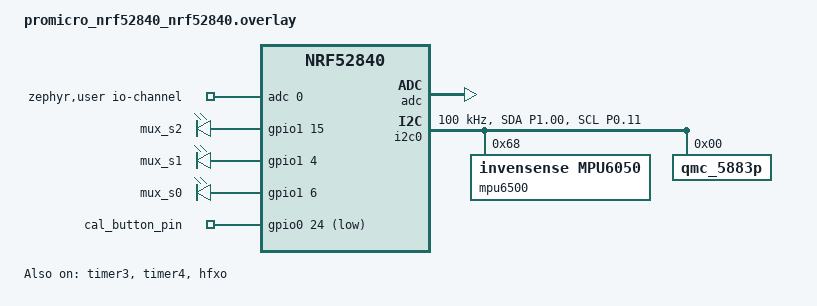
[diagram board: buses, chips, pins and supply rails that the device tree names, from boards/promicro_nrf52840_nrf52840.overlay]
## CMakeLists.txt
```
# SPDX-License-Identifier: Apache-2.0

cmake_minimum_required(VERSION 3.20.0)
find_package(Zephyr REQUIRED HINTS $ENV{ZEPHYR_BASE})
project(transmitter)


zephyr_include_directories(../common/include/)
zephyr_include_directories(src)

target_sources(app PRIVATE
  src/main.c
  src/adc.c
  src/receive_data.c
  src/timer.c
  src/position.c
)

target_sources(app PRIVATE
  ../common/src/MadgwickAHRS.c
  ../common/src/imu.c
  ../common/src/qmc5883p.c
  ../common/src/orientation_handle.c
  ../common/src/data_handle.c
)
```

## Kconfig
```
config DEBUG_SHOW_SENSOR_DATA
  bool "Show sensor data"
  default n
  help
    If this is enabled, the output will be accelerometer, gyro, and magnetometer data

config DEBUG_SHOW_QUATERNIONS_DATA
  bool "Show quaternion data"
  default n
  help
    If this is enabled, quaternions will be output.

config RUN_QMC_CALIBRATION
  bool "Run calibration routine for magnetometer"
  default n
  help
    If this is enabled,  instead of running madgwick filter, it will run the calibration routine for the magnetometer, and output constants for you to update in IMU.c

config RX_UPDATE_RATE
  int "Update rate of receiver (hz)"
  default 100
  help
    Update rate of receiver can be adjusted, should match TX broadcast rate

config RX_ADC_FREQUENCY
  int "Frequency of ADC checking receiver coils voltage(KHz)"
  # default 100
  default 200
  help
    Frequency of ADC checking transmitter coil voltage


config TX_BROADCAST_FREQUENCY
  int "Frequency of transmitter broadcasting bluetooth packets (Hz)"
  default 100
  help
    How frequently the transmitter broadcast packets containing quaternion and phase data to receivers

config RX_BROADCAST_FREQUENCY
  int "Frequency of transmitter broadcasting bluetooth packets (Hz)"
  default 100
  help
    How frequently the receiver broadcast packets containing quaternion and position data to pc

config IS_RECEIVER
  bool "Is this the receiver device?"
  default y
  help
    Used to determine if this is the receiver device, some structs are not included in Tx, check data_handle.h for more details

config RX_SAMPLE_NUMBER
  int "Number of samples to use for positioning and phase Synchronization"
  default 100
  help
    Number of samples to use when calculating Tx phase and amp.


config TX_SAMPLE_NUMBER
  int "Number of samples to use when calculating Tx phase and amp"
  default 100
  help
    Number of samples to use when calculating Tx phase and amp, higher numbers will increase accuracy at cost of performance.


config TX_PWM_FREQUENCY
  int "Frequency of transmitter broadcasting signal (KHz)"
  default 32
  help
    How frequently transmitter antenna sends out signal in KHZ

config TX_ADC_FREQUENCY
  int "Frequency of ADC checking transmitter coils voltage(KHz)"
  # default 100
  default 200
  help
    Frequency of ADC checking transmitter coil voltage

source "Kconfig.zephyr"
```

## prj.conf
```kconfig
# required for running
CONFIG_I2C=y
CONFIG_SENSOR=y
CONFIG_PWM=y
CONFIG_MPU6050=y
CONFIG_CBPRINTF_FP_SUPPORT=y
CONFIG_BUILD_OUTPUT_UF2=y # change/remove this if not using promicro_nrf52840
CONFIG_STDOUT_CONSOLE=y
CONFIG_PRINTK=y
CONFIG_CBPRINTF_FP_SUPPORT=y

CONFIG_NRFX_SAADC=y
CONFIG_NRFX_GPPI=y
CONFIG_NRFX_TIMER=y
# floating point unit
CONFIG_FP_HARDABI=y
CONFIG_FPU=y
CONFIG_FPU_SHARING=y
# CONFIG_NFCT_PINS_AS_GPIOS=y
CONFIG_CLOCK_CONTROL_NRF_K32SRC_XTAL=y
CONFIG_CLOCK_CONTROL_NRF_K32SRC_20PPM=y


# Nordic NCS specific
CONFIG_ESB=y
CONFIG_MPSL=y

# Debug flags
# CONFIG_LOG=y
# CONFIG_SENSOR_LOG_LEVEL_DBG=y
# CONFIG_SERIAL=y
# CONFIG_CONSOLE=y
# CONFIG_UART_CONSOLE=y
# CONFIG_UART_LINE_CTRL=y
# CONFIG_SHELL=y
# CONFIG_SHELL_BACKEND_SERIAL=y
# CONFIG_SHELL_PROMPT_UART="shell> "
# CONFIG_I2C_SHELL=y


# ---- extras
# CONFIG_DEBUG_SHOW_SENSOR_DATA=y
# CONFIG_DEBUG_SHOW_QUATERNIONS_DATA=y
# add gain modifier for coils tmmrow
# CONFIG_RUN_QMC_CALIBRATION=y
```

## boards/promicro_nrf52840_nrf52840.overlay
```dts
/ {
  // required for setting ADC
  zephyr,user {
    io-channels=<&adc 0>;
  };

  mux_controls {
      compatible = "gpio-leds";
      mux_s2: s2 {
        //pin 0.11
        gpios = <&gpio1 15 GPIO_ACTIVE_HIGH>;
      };
      mux_s1: s1 {
        // pin 1.04
        gpios = <&gpio1 4 GPIO_ACTIVE_HIGH>;
      };
      mux_s0: s0 {
        //pin 1.06
        gpios = <&gpio1 6 GPIO_ACTIVE_HIGH>;
      };
  };

  cal_button {
      compatible = "gpio-leds";
      cal_button_pin: cal_button_pin {
        //pin 0.24
        gpios = <&gpio0 24 GPIO_ACTIVE_LOW>;
        };
  };

};

// &uicr {
//   // disable bottom 2 pins for nfc
//   // compatible = "nordic,nrf-uicr";
//   nfct-pins-as-gpios;
// };

&adc {
  status = "okay";
  compatible = "nordic,nrf-saadc";
};

&timer3{
  status = "okay";
};

&timer4{
  status = "okay";
};

&hfxo{
    status = "okay";
};

&clock{
    status = "okay";
};

&i2c0{
  // https://koen.vervloesem.eu/blog/how-to-change-the-default-i2c-pins-in-zephyr/
  status = "okay";
  compatible = "nordic,nrf-twim";
  pinctrl-0 = <&i2c0_default>;
  clock-frequency = <I2C_BITRATE_STANDARD>;
  pinctrl-1 = <&i2c0_sleep>;
  pinctrl-names = "default","sleep";
  mpu6500: mpu6500@68 {
      compatible = "invensense,mpu6050";
      reg = <0x68>;
      status = "okay";
      gyro-fs = <2000>;
      accel-fs = <8>;
  };
  qmc_5883p: qmc_5883p@0 {
    // use this to set which i2c bus you are using for qmc_5883p
    reg = <0x0>;
  };
};

&pinctrl {
    i2c0_default: i2c0_default{
      group1 {
            psels = <NRF_PSEL(TWIM_SDA, 1, 00)>,
                    <NRF_PSEL(TWIM_SCL, 0, 11)>;
    };
      bias-pull-up;
  };

  i2c0_sleep: i2c0_sleep {
    group1 {
            psels = <NRF_PSEL(TWIM_SDA, 1, 00)>,
                    <NRF_PSEL(TWIM_SCL, 0, 11)>;

        low-power-enable;
    };
  };
};
```

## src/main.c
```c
#include "adc.h"
#include "orientation_handle.h"
#include "position.h"
#include "qmc5883p.h"
#include "receive_data.h"
#include "timer.h"

#include "zephyr/device.h"
#include "zephyr/sys/util_macro.h"
#include <zephyr/drivers/sensor.h>
#include <zephyr/kernel.h>
#include <zephyr/sys/printk.h>

#define THREAD_STACK_SIZE 2048
#define THREAD_PRIORITY 7

K_THREAD_STACK_DEFINE(adc_stack, THREAD_STACK_SIZE);

// will need to transmit to other
K_THREAD_STACK_DEFINE(receive_stack, THREAD_STACK_SIZE);
K_THREAD_STACK_DEFINE(orientation_stack, THREAD_STACK_SIZE);
K_THREAD_STACK_DEFINE(position_stack, THREAD_STACK_SIZE);

struct k_thread adc_thread_data;
struct k_thread transmit_thread_data;
struct k_thread orientation_thread_data;
struct k_thread position_thread_data;

int32_t _err;

#include <zephyr/drivers/clock_control.h>
#include <zephyr/drivers/clock_control/nrf_clock_control.h>

void start_precision_clock(void) {
  const struct device *const clk = DEVICE_DT_GET_ONE(nordic_nrf_clock);
  if (!device_is_ready(clk)) {
    printk("Clock device not ready\n");
    return;
  }

  /* Start the high-frequency crystal oscillator (HFXO) */
  clock_control_on(clk, CLOCK_CONTROL_NRF_SUBSYS_HF);

  printk("HFXO precision clock started.\n");
}

int main(void) {

  k_msleep(5000);
  printk("Starting...\n");
  k_msleep(1000);

  printk("Start precison clock...\n");
  start_precision_clock();
  k_msleep(1000);
  //
  printk("setting up Sensors...\n");
  k_msleep(1000);
  _err = setup_sensors();
  if (_err != 0) {
    printk("failed to setup sensors:%d\n", _err);
    return _err;
  }

  printk("All pins are ready!\n");

  printk("Setting up timers\n");
  k_msleep(1000);
  _err = setup_timers();
  if (_err != 0) {
    printk("failed to setup timer:%d\n", _err);
    k_msleep(1000);
    return _err;
  }
  // set this up last, or atleast before ADC so timer is available
  printk("Setting up reciever\n");
  k_msleep(1000);
  setup_receiver();

  if (IS_ENABLED(CONFIG_RUN_QMC_CALIBRATION)) {
    static const struct device *i2c_dev =
        DEVICE_DT_GET(DT_BUS(DT_NODELABEL(qmc_5883p)));
    qmc_calibration_routine(i2c_dev);
    // exit from function
    return 0;
  }

  k_thread_create(&adc_thread_data, adc_stack, K_THREAD_STACK_SIZEOF(adc_stack),
                  start_adc_thread, NULL, NULL, NULL, THREAD_PRIORITY, 0,
                  K_NO_WAIT);

  k_thread_create(&orientation_thread_data, orientation_stack,
                  K_THREAD_STACK_SIZEOF(orientation_stack),
                  run_orientation_loop, NULL, NULL, NULL, THREAD_PRIORITY, 0,
                  K_NO_WAIT);

  k_thread_create(&position_thread_data, position_stack,
                  K_THREAD_STACK_SIZEOF(position_stack),
                  start_positioning_thread, NULL, NULL, NULL, THREAD_PRIORITY,
                  0, K_NO_WAIT);
  while (1) {
    k_sleep(K_FOREVER);
  }
  return 0;
}
```

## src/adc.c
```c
#include "adc.h"
#include "data_handle.h"
#include "hal/nrf_saadc.h"
#include "hal/nrf_timer.h"
#include "nrfx_templates_config.h"
#include "orientation_handle.h"
#include "timer.h"
#include <helpers/nrfx_gppi.h>
#include <math.h>
#include <zephyr/drivers/gpio.h>

#include <nrfx_saadc.h>
#include <nrfx_timer.h>
#include <stdint.h>
#include <zephyr/devicetree.h>
#include <zephyr/irq.h>
#include <zephyr/kernel.h>
#include <zephyr/sys/printk.h>

// https://github.com/NordicPlayground/nRF52-ADC-examples/tree/master/nrfx_saadc_multi_channel_ppi
// pin out from here: https://nicekeyboards.com/docs/nice-nano/pinout-schematic/
// ADC pins
#define PIN_X NRF_SAADC_INPUT_AIN0 // pin 0.02
// TODO: move these into KCONFIG
#define GAIN_X 1.2184578168707212f
#define GAIN_Y 0.8938119254701037f
#define GAIN_Z 0.9429631550167387f
#ifndef PI
#define PI 3.14159265358979323846f
#endif
#define TWO_PI (2.0f * PI)

extern struct k_msgq rx_sync_msgq;

K_SEM_DEFINE(adc_semaphore, 0, 1);

// used to pass messages to positioning thread
extern struct k_msgq positioning_queue;
extern struct k_sem radio_sync_sem;

// used for calculating phase for sign
static uint32_t local_timestamp;
static uint32_t adc_timestamp_x;
static uint32_t adc_timestamp_y;
static uint32_t adc_timestamp_z;

static float synced_phase;
static float raw_phase;

// needed for passing to pos algo?
static struct rx_data_container_t local_sensor_data;

static struct rx_data_signal_t local_signal_data;
static struct data_container_t local_data_rx;
static struct timestamp_data_container_t local_tx_data;

static const struct gpio_dt_spec mux_s0 =
    GPIO_DT_SPEC_GET(DT_NODELABEL(mux_s0), gpios);
static const struct gpio_dt_spec mux_s1 =
    GPIO_DT_SPEC_GET(DT_NODELABEL(mux_s1), gpios);
static const struct gpio_dt_spec mux_s2 =
    GPIO_DT_SPEC_GET(DT_NODELABEL(mux_s2), gpios);

// number of samples to hold the sign on
static uint8_t sign_hold_number = 3;
// array of each coils pointers
static struct coil_data_storage coils_arr[3] = {
    {&local_signal_data.adc_x_amp, &local_signal_data.adc_x_phase, "x",
     &adc_timestamp_x, -1.3f, 40.0f, 0.7, 1, 0},
    {&local_signal_data.adc_y_amp, &local_signal_data.adc_y_phase, "y",
     &adc_timestamp_y, -1.5f, 40.0f, 0.7, 1, 0},
    {&local_signal_data.adc_z_amp, &local_signal_data.adc_z_phase, "z",
     &adc_timestamp_z, 1.40f, 40.0f, 0.7, 1, 0}};

// the last reference coil, use to determine if the reference coil should be
// changed, integer because it directly relates to the index above
// NOTE: this is set to Z axis right now because dynamic coil switching is not
// implemented
static uint8_t last_reference_coil = 2;
// what is the minimum amount of difference between stronger amp of the coil to
// change to and the current coil
//
static float min_threshold_coil_change = 50.f;

int16_t sample_buf_x[CONFIG_RX_SAMPLE_NUMBER] = {0};
int16_t sample_buf_y[CONFIG_RX_SAMPLE_NUMBER] = {0};
int16_t sample_buf_z[CONFIG_RX_SAMPLE_NUMBER] = {0};

int32_t val_mv;
int32_t err;

// NOTE: store 100(default) signal entries for phase and amp calculation
static float amp_bias;
struct cached_sin_cos_t cached_s_c = {.sine = {0}, .cosine = {0}};

static float wrap_to_pi(float angle) {
  // add PI to shift angle from -pi to 0, 2pi
  angle = fmodf(angle + PI, TWO_PI);
  if (angle < 0.0f) {
    // rotate the angle back to be positive 2 pi range
    angle += TWO_PI;
  } // shifts value back to -pi to pi range
  return angle - PI;
}

static float phase_advance_from_ticks(int32_t dt_ticks) {
  // takes int 32 as it could be negative
  const uint32_t ticks_per_period = 500; // 16 MHz / 32 kHz
  // find only the remainder in phase
  int32_t phase_ticks = dt_ticks % ticks_per_period;
  // return how much that remainder would fast forward or rewind
  return ((float)phase_ticks) * (2.0f * PI / 500.0f);
}

static void saadc_handler(nrfx_saadc_evt_t const *p_event) {
  // if the next buffer is ready to be filled
  switch (p_event->type) {
  case NRFX_SAADC_EVT_DONE:
    k_sem_give(&adc_semaphore);
    break;
  }
}

int config_saadc() {
  int err;
  // incredibly useful:
  // https://github.com/zephyrproject-rtos/hal_nordic/tree/master/nrfx/samples/src/nrfx_saadc/advanced_non_blocking_internal_timer

  IRQ_CONNECT(NRFX_IRQ_NUMBER_GET(NRF_SAADC), IRQ_PRIO_LOWEST,
              nrfx_saadc_irq_handler, 0, 0);

  irq_enable(NRFX_IRQ_NUMBER_GET(NRF_SAADC));

  err = nrfx_saadc_init(NRFX_SAADC_DEFAULT_CONFIG_IRQ_PRIORITY);
  if (err != 0) {
    printk("Error setting up SAADC: %d\n", err);
    k_msleep(1000);
    return err;
  }
  printk("Got passed init SAAADC\n");
  k_msleep(1000);

  nrfx_saadc_channel_t default_channel =
      NRFX_SAADC_DEFAULT_CHANNEL_SE(NRF_SAADC_INPUT_AIN0, 0);
  default_channel.channel_config.acq_time = NRF_SAADC_ACQTIME_3US;
  nrfx_saadc_channel_config(&default_channel);

  printk("Got passed default channel\n");
  k_msleep(1000);

  nrfx_saadc_adv_config_t adv_config = NRFX_SAADC_DEFAULT_ADV_CONFIG;

  uint32_t channel_mask = nrfx_saadc_channels_configured_get();
  err = nrfx_saadc_advanced_mode_set(channel_mask, NRF_SAADC_RESOLUTION_12BIT,
                                     &adv_config, saadc_handler);

  nrf_saadc_channel_input_set(NRF_SAADC, 0, PIN_X, NRF_SAADC_INPUT_DISABLED);

  if (err != 0) {
    return err;
  }
  printk("Got passed advanced mode set\n");
  k_msleep(1000);

  printk("Got passed buffer set\n");
  k_msleep(1000);

  return 0;
}

int config_adc_ppi() {
  // set up generic PPI
  nrfx_gppi_handle_t gppi_handle;
  nrfx_gppi_handle_t gppi_adc_timestamp;
  nrfx_gppi_handle_t gppi_timer_start;

  // connect timer event compare0 to saadc task sample (take a sample each
  // time timer ticks)
  int err = nrfx_gppi_conn_alloc(
      nrf_timer_event_address_get(adc_timer.p_reg, NRF_TIMER_EVENT_COMPARE0),
      nrf_saadc_task_address_get(NRF_SAADC, NRF_SAADC_TASK_SAMPLE),
      &gppi_handle);

  if (err != 0) {
    return err;
  }

  // capture time of finished ADC sampling
  err = nrfx_gppi_conn_alloc(
      nrf_saadc_event_address_get(NRF_SAADC, NRF_SAADC_EVENT_STARTED),
      nrf_timer_task_address_get(rx_timer.p_reg, NRF_TIMER_TASK_CAPTURE2),
      &gppi_adc_timestamp);

  if (err != 0) {
    return err;
  }

  err = nrfx_gppi_conn_alloc(
      nrf_saadc_event_address_get(NRF_SAADC, NRF_SAADC_EVENT_STARTED),
      nrf_timer_task_address_get(adc_timer.p_reg, NRF_TIMER_TASK_START),
      &gppi_timer_start);

  if (err != 0) {
    return err;
  }
  // enable this connection
  nrfx_gppi_conn_enable(gppi_handle);
  nrfx_gppi_conn_enable(gppi_timer_start);
  nrfx_gppi_conn_enable(gppi_adc_timestamp);
  return 0;
}

static float sign_axis_from_phase(struct coil_data_storage *data,
                                  uint32_t sync_timestamp, float target_phase) {
  // target phase could be TX, or the internal reference coil
  // sync timestamp will either be when tx coil was received or the reference
  // coil timestamp
  float amp_abs = fabsf(*data->amp);
  float phase_offset = 0.0f;
  // is this the reference coil
  uint8_t reference = 0;

  int32_t dt_ticks = *data->axis_timestamp - sync_timestamp;

  // calculate the expected phase, may need to be rewind or speed up, if
  // referncing internal coils, maybe ignore offset?
  float expected_phase =
      wrap_to_pi(target_phase + phase_advance_from_ticks(dt_ticks));

  // could just pass if this is the reference coil in args
  if (strcmp(data->axis, coils_arr[last_reference_coil].axis) == 0) {
    // if this is the reference coil, see what the synced and expected phase is
    synced_phase = expected_phase;
    phase_offset = data->phase_offset_rad;
    reference = 1;
  }

  // NOTE: This conditionally applies the phase_offset radians, if this is the
  // refernce coil, otherwise ignore

  // take away the phase offset
  float diff = wrap_to_pi((*data->phase - expected_phase) - phase_offset);
  // finding the difference between the expected phase and the measurement

  // cosine used to determine sign.
  // If the phases are aligned then the diff will be 0 or close to.
  // This will make C postive 1 otherwise if the phase are not
  // in algiment they will be around -pi or +pi (roughly the same angle) and
  // will give -1
  float c = cosf(diff);

  // if (reference != 1) {
  //   printk("ref coil: %s | axis: %s | phase error: %6.3f | cos: %6.3f\n",
  //          coils_arr[last_reference_coil].axis, data->axis, diff, c);
  // }

  float sign = data->last_sign;

  // if the difference is more positive then swap sign to + otherwise -
  float potential_sign = (c >= 0.0f) ? 1.0f : -1.0f;
  // // deadband to make sure there is enough of a difference to change sign
  if (fabsf(c) > data->deadband_cos && amp_abs > data->min_amp) {
    if (potential_sign != data->last_sign) {
      data->hold_number++;
      if (data->hold_number > sign_hold_number) {
        // sign = (c >= 0.0f) ? 1.0f : -1.0f;
        data->last_sign = potential_sign;
        sign = potential_sign;
        data->hold_number = 0;
      }
    } else {
      // its the same sign so reset the hold value
      data->hold_number = 0;
    }
  }

  return amp_abs * sign;
  ;
}

void phase_sync_signs(void) {
  float tx_phase = local_tx_data.tx_phase;
  // when the TX was received
  uint32_t tx_sync_time = local_timestamp;

  // TODO: this is some basic code for dynamically switching the refernce coil,
  // it would require anchoring the sign of the current reference and the
  // candidate reference coil, so right now do not have the time to fix this, we
  // just assume Z is the refrence coil.
  //
  // find which coil has the largest amplitude
  // for (int i = 0; i < 3; i++) {
  //   // if the difference between this coil (x,y,z) and the last reference coil
  //   // is greater than the minimum threshold change
  //   // should be postive since this is before the sign is applied
  //   if (*coils_arr[i].amp - *coils_arr[last_reference_coil].amp >
  //       min_threshold_coil_change) {
  //     // switch the coil, this should ensure that the largest coil is always
  //     // selected, change the intger
  //     last_reference_coil = i;
  //   }
  // }
  //
  // from here the last reference coil has the coil we will compare tx phase to

  // get the reference coil data
  struct coil_data_storage *data = &coils_arr[last_reference_coil];

  // update the reference coils sign first
  *data->amp = sign_axis_from_phase(data, tx_sync_time, tx_phase);

  // update coils from internal reference coil
  for (int i = 0; i < 3; i++) {
    if (i == last_reference_coil) {
      // skip reference coil!
      continue;
    }
    // update value at coils array amp (local_signal_data.amp)
    // compare this sampled coil to the sample time of the reference coil
    *coils_arr[i].amp = sign_axis_from_phase(
        &coils_arr[i], *data->axis_timestamp, *data->phase);
  }

  // this can probbaly be compressed as well, using a for loop
  update_rx_adc_data(local_signal_data.adc_x_amp, local_signal_data.adc_x_phase,
                     "x");

  update_rx_adc_data(local_signal_data.adc_y_amp, local_signal_data.adc_y_phase,
                     "y");

  update_rx_adc_data(local_signal_data.adc_z_amp, local_signal_data.adc_z_phase,
                     "z");
}

int matched_filter(int16_t *signal_buf, struct cached_sin_cos_t *cached_s_c,
                   char *axis) {

  float cos_accumulation = 0.0f;
  float sin_accumulation = 0.0f;
  float amp = 0.0f;
  float phase = 0.0f;
  int32_t dc_sum = 0;

  // because voltage can be varaible, on the vbias a sum is added to make sure
  // it stays centered
  for (int i = 0; i < CONFIG_RX_SAMPLE_NUMBER; i++) {
    dc_sum += signal_buf[i];
  }

  float true_dc_offset = (float)dc_sum / (float)CONFIG_RX_SAMPLE_NUMBER;

  for (int i = 0; i < CONFIG_RX_SAMPLE_NUMBER; i++) {

    float ac_wave_signal = (float)signal_buf[i] - true_dc_offset;

    sin_accumulation += cached_s_c->sine[i] * ac_wave_signal;
    cos_accumulation += cached_s_c->cosine[i] * ac_wave_signal;
  }

  amp = sqrtf((sin_accumulation * sin_accumulation) +
              (cos_accumulation * cos_accumulation));

  amp = (amp / (float)CONFIG_RX_SAMPLE_NUMBER) * 2.0f;

  // normalise to volts
  amp = (amp / 4096.0f) * 3.6f;
  // change to update to milivolts
  amp = amp * 1000.0f;

  // phase was calculated differently to paper here
  // because of the the way it is entering the coil
  // phase = atan2f(-sin_accumulation, cos_accumulation);
  phase = atan2f(-sin_accumulation, cos_accumulation);

  // update :)
  update_rx_adc_data(amp, phase, axis);

  return 0;
}

void switch_channel(uint8_t channel_num) {
  gpio_pin_set_dt(&mux_s0, (channel_num & 0x01) ? 1 : 0);
  gpio_pin_set_dt(&mux_s1, (channel_num & 0x02) ? 1 : 0);
  gpio_pin_set_dt(&mux_s2, (channel_num & 0x04) ? 1 : 0);

  // if still arcing can reduce this
  k_busy_wait(50);
  // k_busy_wait(1000);
}

void adc_sample(uint8_t channel_num, nrf_saadc_value_t *buf,
                uint32_t *timestamp_out) {
  switch_channel(channel_num);

  nrfx_timer_disable(&adc_timer);
  nrfx_timer_clear(&adc_timer);

  nrfx_err_t err = nrfx_saadc_buffer_set(buf, CONFIG_RX_SAMPLE_NUMBER);
  if (err != 0) {
    printk("CRITICAL ERROR: Buffer set failed with code %d\n", err);
    k_msleep(5000);
    return;
  }

  nrfx_saadc_mode_trigger();

  k_sem_take(&adc_semaphore, K_FOREVER);

  // store when ADC started sampling
  *timestamp_out = nrfx_timer_capture_get(&rx_timer, NRF_TIMER_CC_CHANNEL2);

  nrfx_timer_disable(&adc_timer);
}

int setup_mux_pins() {
  int err;
  err = gpio_pin_configure_dt(&mux_s0, GPIO_OUTPUT_INACTIVE);
  if (err != 0) {
    printk("error setting up mux: %d", err);
    k_msleep(2000);
    return err;
  }
  err = gpio_pin_configure_dt(&mux_s1, GPIO_OUTPUT_INACTIVE);
  if (err != 0) {
    printk("error setting up mux: %d", err);
    k_msleep(2000);
    return err;
  }
  err = gpio_pin_configure_dt(&mux_s2, GPIO_OUTPUT_INACTIVE);
  if (err != 0) {
    printk("error setting up mux: %d", err);
    k_msleep(2000);
    return err;
  }
  return 0;
}

void start_adc_thread(void *, void *, void *) {
  // this function acts as entry point for starting a thread
  int err;

  read_rx_adc_data(&local_signal_data);
  printk("setting up adc\n");

  err = setup_sin_cos_cache(&cached_s_c);

  if (err != 0) {
    printk("Failed to setup sine and cosine cache: %d\n", err);
  }

  // NOTE: 12 is comming from ADC bit resolution, this should probably be
  // place in the KCONFIG
  // amp_bias = 3.3 / powf(2, 12);
  amp_bias = 3.3 / 2048;

  printk("setting up saadc\n");
  // k_msleep(1000);

  config_saadc();

  printk("setting up ppi\n");
  k_msleep(1000);

  config_adc_ppi();

  printk("setup ppi\n");
  k_msleep(1000);

  printk("ADC setup finished, taking samples at %d Hz\n",
         CONFIG_RX_UPDATE_RATE);
  k_msleep(1000);

  printk("setting up mux pins\n");
  setup_mux_pins();
  k_msleep(1000);

  while (1) {
    struct rx_sync_ref_t sync;

    k_msgq_get(&rx_sync_msgq, &sync, K_FOREVER);

    // read the quaterion orientation when sampling ADC - I think there might be
    // an issue here since we are looking at N-1 timetsmp, we need orientation
    // of when we recived that packet
    read_data(&local_data_rx);
    // read accel data for later positioning -
    read_rx_data(&local_sensor_data);

    float rx_q0 = local_data_rx.q0;
    float rx_q1 = local_data_rx.q1;
    float rx_q2 = local_data_rx.q2;
    float rx_q3 = local_data_rx.q3;
    local_timestamp = sync.timestamp;
    local_tx_data.tx_phase = sync.tx_phase;
    local_tx_data.q0 = sync.q0;
    local_tx_data.q1 = sync.q1;
    local_tx_data.q2 = sync.q2;
    local_tx_data.q3 = sync.q3;

    // really these should be done as soon as possible, I wonder if there is a
    // better way to optimise this?
    adc_sample(0, sample_buf_x, &adc_timestamp_x);
    adc_sample(3, sample_buf_y, &adc_timestamp_y);
    adc_sample(5, sample_buf_z, &adc_timestamp_z);

    // ISSUE: need to change this from TX matched filter
    matched_filter(sample_buf_x, &cached_s_c, "x");
    matched_filter(sample_buf_y, &cached_s_c, "y");
    matched_filter(sample_buf_z, &cached_s_c, "z");

    read_rx_adc_data(&local_signal_data);

    // for calibration, before the values become signed
    // printk(
    //     "x amp: %-8.3f | y amp: %-8.3f | z amp: %-8.3f \n",
    //     local_signal_data.adc_x_amp, local_signal_data.adc_y_amp,
    //     local_signal_data.adc_z_amp);

    phase_sync_signs();
    // extracted phase from matched filter
    raw_phase = *coils_arr[last_reference_coil].phase;

    read_rx_adc_data(&local_signal_data);

    read_data(&local_data_rx);

    // Looks at reference coils phase error
    // float phase_err =
    //     wrap_to_pi((raw_phase - synced_phase) -
    //                coils_arr[last_reference_coil].phase_offset_rad);
    // printk(
    //     "phase: %6.3f | q0: %6.3f | q1: %6.3f | q2: %6.3f | q3: %6.3f | "
    //     "syncedPhase: %6.3f | phaseErr: %6.2f | %s amp: %5.3f | cos:
    //     %3.2f\n", raw_phase, local_data_rx.q0, local_data_rx.q1,
    //     local_data_rx.q2, local_data_rx.q3, synced_phase, phase_err,
    //     coils_arr[last_reference_coil].axis,
    //     *coils_arr[last_reference_coil].amp, cosf(phase_err));

    // printk("x amp: %-8.3f | y amp: %-8.3f | z amp: %-8.3f | strongest
    // axis%s\n",
    //        local_signal_data.adc_x_amp, local_signal_data.adc_y_amp,
    //        local_signal_data.adc_z_amp, coils_arr[last_reference_coil].axis);

    // printk("first timestamp: %d | last timestamp: %d | difference: %d\n",
    //        adc_timestamp_x, adc_timestamp_z, adc_timestamp_z -
    //        adc_timestamp_x);

    // TODO: need print out here for accel values and sign values to workout
    // which axis needs to be assigned to what

    // scale the vectors
    float bx = (local_signal_data.adc_x_amp * GAIN_X);
    float by = (local_signal_data.adc_y_amp * GAIN_Y);
    float bz = (local_signal_data.adc_z_amp * GAIN_Z);

    // printk("x amp: %-8.3f | y amp: %-8.3f | z amp: %-8.3f | ref axis %s | "
    //        "accel x: %-8.3f  | accel y: %-8.3f | accel z: %-8.3f\n",
    //        bx, by, bz, coils_arr[last_reference_coil].axis,
    //        local_sensor_data.accel_x, local_sensor_data.accel_y,
    //        local_sensor_data.accel_z);

    // printk("x amp: %-8.3f | y amp: %-8.3f | z amp: %-8.3f | strongest axis %s
    // "
    //        "| gain magnitude: %-8.3f\n",
    //        bx, by, bz, coils_arr[last_reference_coil].axis,
    //        sqrtf((bx * bx) + (by * by) + (bz * bz)));

    // TODO: should include the current quaternions as well, so that we are not
    // using stale quaternions when calculating phase?

    // ISSUE: axis may need to be flipped? / aligned here - for rx 0 the coils are perfectly aligned to IMU

    struct solver_packet_t pos_packet = {
        .bx = -bx,
        .by = by,
        .bz = bz,
        .tx_q0 = local_tx_data.q0,
        .tx_q1 = local_tx_data.q1,
        .tx_q2 = local_tx_data.q2,
        .tx_q3 = local_tx_data.q3,
        .rx_q0 = rx_q0,
        .rx_q1 = rx_q1,
        .rx_q2 = rx_q2,
        .rx_q3 = rx_q3,
        .accel_x = local_sensor_data.accel_x,
        .accel_y = local_sensor_data.accel_y,
        .accel_z = local_sensor_data.accel_z,
    };

    k_msgq_put(&positioning_queue, &pos_packet, K_NO_WAIT);
    // k_msleep(10);
  }
}
```

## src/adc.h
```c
#ifndef ADC_H
#define ADC_H

#include "data_handle.h"
#include <nrfx_saadc.h>
#include <stdint.h>
#include <zephyr/kernel.h>
#include <zephyr/sys/printk.h>

struct sample_buf_t {
  int16_t x[2][CONFIG_RX_SAMPLE_NUMBER];
  int16_t y[2][CONFIG_RX_SAMPLE_NUMBER];
  int16_t z[2][CONFIG_RX_SAMPLE_NUMBER];
};

struct coil_data_storage {
  float *amp;
  float *phase;
  char axis[2];
  uint32_t *axis_timestamp; // used to store pointer of the timestamp
  float phase_offset_rad;   // phase offset for each coil
  float min_amp;            // Minimum amp to actually listen to phase readings
  float deadband_cos; // if reading is strongly pos or neg switch it, if near 0
                      // (90deg) dont use result.
  float last_sign;
  uint8_t hold_number; // how long the sign has been consistant
};

static void saadc_handler(nrfx_saadc_evt_t const *p_event);

int config_saadc();

int config_timer();

int config_ppi();

int matched_filter(int16_t *signal_buf, struct cached_sin_cos_t *cached_s_c,
                   char *axis);

int setup_sin_cos_cache(struct cached_sin_cos_t *cached_s_c);

void start_adc_thread(void *, void *, void *);

#endif
```

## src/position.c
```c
#include "data_handle.h"
// #include "zephyr/dt-bindings/gpio/gpio.h"
#include "hal/nrf_timer.h"
#include "nrfx_timer.h"
#include "position.h"
#include "timer.h"
#include "zephyr/kernel.h"
#include "zephyr/sys/printk.h"
#include <math.h>
#include <stdint.h>
#include <zephyr/drivers/gpio.h>

K_MSGQ_DEFINE(positioning_queue, sizeof(struct solver_packet_t), 10, 4);

// precompute this
static const float FIVE_DIVIDE_TWO = 5.0f / 2.0f;
// since accel in g use 1.0f instead of 9.80665f
static const float GRAVITY = 1.0f;
static const float GRAVITY_MS = 9.80665f;

// found with the kalman noise finder script
static const float X_VP = 0.005295973033866432;
static const float Y_VP = 0.0040412814941998025;
static const float Z_VP = 0.0024122114372555487;
static const float X_VA = 0.0021756922347726873;
static const float Y_VA = 0.0014266803384266505;
static const float Z_VA = 0.0033356483850830957;

// define kalman estimation per axis
static struct kalman_state_t kalman_x = {0, 0, 1, 0, 0, 1};
static struct kalman_state_t kalman_y = {0, 0, 1, 0, 0, 1};
static struct kalman_state_t kalman_z = {0, 0, 1, 0, 0, 1};
// timestamp for kalman calculation
static int64_t kalman_timestamp = 0;

// Calibrate magnetic moment
static float cal_magnetic_moment = 104.1666666f;

// used to tell if the offset should be recalibrated
static uint8_t calibrate_orientation = 0;
static struct quaternion_t rx_offset_q = {1, 0.0001f, 0.0001f, 0.0001f};

static const struct gpio_dt_spec cal_button_pin =
    GPIO_DT_SPEC_GET(DT_NODELABEL(cal_button_pin), gpios);

static struct gpio_callback button_cb_data;

void button_pressed(const struct device *dev, struct gpio_callback *cb,
                    uint32_t pins) {
  // button pressed, set the next postion to reset q offset
  printk("recalibration button pressed\n");
  calibrate_orientation = 1;
}

int config_calibration_button() {
  // https://github.com/zephyrproject-rtos/zephyr/tree/main/samples/drivers/gpio/button_interrupt
  uint8_t err;
  err = device_is_ready(cal_button_pin.port);
  // is bool if 1 then is ready
  if (err != 1) {
    printk("Button setup error: %d\n", err);
    k_msleep(1000);
    return err;
  }

  // this func is used to setup the calibration button to recenter offset
  // quaternions between RX and TX
  gpio_pin_configure_dt(&cal_button_pin, GPIO_INPUT | GPIO_PULL_UP);
  printk("setup config button\n");
  k_msleep(1000);

  // on button press gen interupt
  gpio_pin_interrupt_configure(cal_button_pin.port, cal_button_pin.pin,
                               GPIO_INT_EDGE_FALLING);
  printk("setup button inturput\n");
  k_msleep(1000);

  // add button callback
  gpio_init_callback(&button_cb_data, button_pressed, BIT(cal_button_pin.pin));
  gpio_add_callback(cal_button_pin.port, &button_cb_data);
  printk("setup button callback: done!\n");
  k_msleep(1000);
  return 0;
}

float kalman_update(struct kalman_state_t *kalman, float p_m, float a_m,
                    float dt, float vp, float va) {
  // TODO: this does not need to be a monolothic function like this
  //
  // p_m is position measured, a_m is acceleration measured
  // predict next system state
  float dt_squared = dt * dt;
  // float va_squared = va * va;
  kalman->p_est =
      kalman->p_est + (kalman->v_est * dt) + ((a_m * (dt_squared)) / 2);
  kalman->v_est = kalman->v_est + a_m * dt;

  // predict covariance matrix
  float new_C0 = kalman->C0 + ((kalman->C1 + kalman->C2) * dt) +
                 (kalman->C3 * dt_squared) + (va * dt_squared);
  float new_C1 = kalman->C1 + (kalman->C3 * dt) + (va * (dt_squared * dt));
  float new_C2 = kalman->C2 + (kalman->C3 * dt) + (va * (dt_squared * dt));
  float new_C3 = kalman->C3 + (va * dt_squared);
  kalman->C0 = new_C0;
  kalman->C1 = new_C1;
  kalman->C2 = new_C2;
  kalman->C3 = new_C3;

  // calculate kalman gain
  float K_denominator = kalman->C0 + ((kalman->C1 + kalman->C2) * dt) +
                        (kalman->C3 * dt_squared) + (vp * vp);
  float K0 = (kalman->C0 + (kalman->C1 * dt)) / K_denominator;
  float K1 = (kalman->C2 + (kalman->C3 * dt)) / K_denominator;

  // update state estimate
  kalman->p_est =
      kalman->p_est + (K0 * (p_m - kalman->p_est - (kalman->v_est * dt)));
  kalman->v_est =
      kalman->v_est + (K1 * (p_m - kalman->p_est - (kalman->v_est * dt)));

  // update covariance estimation
  kalman->C0 = new_C0 - (K0 * (new_C0 + (new_C2 * dt)));
  kalman->C1 = new_C1 - (K0 * (new_C1 + (new_C3 * dt)));
  kalman->C2 = new_C2 - (K1 * (new_C0 + (new_C2 * dt)));
  kalman->C3 = new_C3 - (K1 * (new_C1 + (new_C3 * dt)));
  return kalman->p_est;
}

struct vector_t rotate_vector(struct vector_t raw_pos, struct quaternion_t rx_q,
                              struct quaternion_t inverse_rx_q) {
  // ensure normalise the quaterion

  // multiple tx quaternion by inverse of RX quaterionion to find the relative
  // orientation to rotate vectors

  // struct quaternion_t q_realtive = multiply_quaternion(inverse_rx_q, tx_q);
  //
  // struct quaternion_t inverse_q_relative = inverse_quaternion(&q_realtive);
  //
  struct quaternion_t mag_vector = {
      .w = 0.0f, .x = raw_pos.x, .y = raw_pos.y, .z = raw_pos.z};

  // rotate magnetic vectors (rotation via shoemakers paper q^-1 * V * q)
  mag_vector = multiply_quaternion(inverse_rx_q, mag_vector);
  mag_vector = multiply_quaternion(mag_vector, rx_q);

  // rotated RX vector
  struct vector_t rx_pos_rot = {mag_vector.x, mag_vector.y, mag_vector.z};
  return rx_pos_rot;
}

struct vector_t calculate_pos(float bx, float by, float bz, float a_x,
                              float a_y, float a_z) {
  // cache values so this is slightly less expensive
  // also this is entirely taken from research paper
  float sqrt_bx_by = sqrtf((bx * bx) + (by * by));

  float c1 = bz / sqrt_bx_by;
  // calculate with +/-
  float c2_part1 = (3 * c1 / 4);
  float c2_part2 = (sqrtf((9 * (c1 * c1)) + 8) / 4);

  float c2_plus = c2_part1 + c2_part2;
  float c2_minus = c2_part1 - c2_part2;

  // TODO: decide which +/- here or calculate both -/+ and decide at the end?
  // not sure this is the right place since (5) has +/- but (6)(c2) does not
  // only has + but it says only considering first quadrant?
  float c2 = c2_plus;

  float x0_denominator =
      (4 * PI * powf(1 + (c2 * c2), FIVE_DIVIDE_TWO) * sqrt_bx_by);
  float x0_numerator = 3 * cal_magnetic_moment * c2;
  // cube root 1/3
  float x0 = cbrtf(x0_numerator / x0_denominator);

  // need to apply sign from rotated vector

  float zp = c2 * x0;

  float xp = x0 / sqrtf(1 + powf((by / bx), 2.0f));
  float yp = sqrtf((x0 * x0) - (xp * xp));

  // will need to apply zp, sign after ? might not since the + - will probbaly
  // produce the correct results
  // TODO: use gyroscope to keep sign if angular veloctiy is high, otherwise
  // changes quadrant

  float sign_z = (zp >= 0.0f) ? 1.0f : -1.0f;
  xp = (bx * sign_z >= 0.0f) ? xp : -xp;
  yp = (by * sign_z >= 0.0f) ? yp : -yp;

  // TODO: add rejection outliers, if position jumps alot

  // printk(
  //     " c1: %-7.3f | c2: %-7.3f | x0: %-7.3f | x0_n: %-7.3f | x0_d:
  //     %-7.3f\n", c1, c2, x0, x0_numerator, x0_denominator);
  // print values

  // print values for debug and calibration

  // printk("X: %-10.8f | Y: %-10.8f | Z: %-10.8f | accel X: %-10.8f | accel Y:"
  //        " %-10.8f | accel Z: %-10.8f\n",
  //        xp, yp, zp, a_x, a_y, a_z);
  // TODO: add kalman filter activation here in another func
  // int64_t now_ms = k_uptime_get();
  // float dt =
  // (kalman_timestamp == 0) ? 0.0025f : (now_ms - kalman_timestamp) / 1000.0f;
  // kalman_timestamp = now_ms;
  float dt = 0.01f;

  float xp_filtered = kalman_update(&kalman_x, xp, a_x, dt, X_VP, X_VA);
  float yp_filtered = kalman_update(&kalman_y, yp, a_y, dt, Y_VP, Y_VA);
  float zp_filtered = kalman_update(&kalman_z, zp, a_z, dt, Z_VP, Z_VA);

  // printk("Kalman X: %.4f | Y: %.4f | Z: %.4f\n", xp_filtered, yp_filtered,
  //        zp_filtered);
  struct vector_t smooth = {xp_filtered, yp_filtered, zp_filtered};
  return smooth;
}

void calculate_linear_acceleration(float *a_x, float *a_y, float *a_z,
                                   struct quaternion_t rx_q,
                                   struct quaternion_t inverse_rx_q) {
  // calculated for all axis for later kalman filter, for position estimation
  // only, only z axis is required
  struct quaternion_t gravity_q = {.w = 0, .x = 0, .y = 0, .z = -GRAVITY};
  // rotate sensor frame to world frame and then remove gravity
  // ISSUE: this will cause errors if this is not the correct convention.

  // orginal
  gravity_q = multiply_quaternion(inverse_rx_q, gravity_q);
  gravity_q = multiply_quaternion(gravity_q, rx_q);

  // changed
  // gravity_q = multiply_quaternion(rx_q, gravity_q);
  // gravity_q = multiply_quaternion(gravity_q, inverse_rx_q);
  // Remove gravity from the accelerometer data and convert to m/s^2
  // orginally a + grav.axis
  *a_x = (*a_x + gravity_q.x) * GRAVITY_MS;
  *a_y = (*a_y + gravity_q.y) * GRAVITY_MS;
  *a_z = (*a_z + gravity_q.z) * GRAVITY_MS;
}

void recalibrate_q_offset(struct quaternion_t inverse_rx_q,
                          struct quaternion_t tx_q) {
  rx_offset_q = multiply_quaternion(tx_q, inverse_rx_q);
  normalise_quaternion(&rx_offset_q);
}

void start_positioning_thread(void *, void *, void *) {
  struct solver_packet_t incoming_data;
  config_calibration_button();
  // setup calibration button config here

  while (1) {
    // TODO: maybe dont wait on queue to free up, just keep guessing using accel
    // data and if a position item comes in use that to stablize
    k_msgq_get(&positioning_queue, &incoming_data, K_FOREVER);

    struct vector_t rx_pos_raw = {incoming_data.bx, incoming_data.by,
                                  incoming_data.bz};

    // NOTE: forced postive to see how position does, if this fixes most
    // positoning stuff then phase sync sign needs fixing

    // struct vector_t rx_pos_raw = {
    //     fabsf(incoming_data.bx), fabsf(incoming_data.by),
    //     fabsf(incoming_data.bz)};

    // printk(" RAW X: %-7.3f | RAW Y: %-7.3f | RAW Z: %-7.3f\n", rx_pos_raw.x,
    //        rx_pos_raw.y, rx_pos_raw.z);

    struct quaternion_t q_tx_frame = {
        .w = incoming_data.tx_q0,
        .x = incoming_data.tx_q1,
        .y = incoming_data.tx_q2,
        .z = incoming_data.tx_q3,
    };

    struct quaternion_t q_rx_frame = {
        .w = incoming_data.rx_q0,
        .x = incoming_data.rx_q1,
        .y = incoming_data.rx_q2,
        .z = incoming_data.rx_q3,
    };

    // acceleration raw values
    float a_x = incoming_data.accel_x;
    float a_y = incoming_data.accel_y;
    float a_z = incoming_data.accel_z;

    normalise_quaternion(&q_rx_frame);
    // find inverse of rx quaternion
    struct quaternion_t inverse_rx_q = inverse_quaternion(&q_rx_frame);

    calculate_linear_acceleration(&a_x, &a_y, &a_z, q_rx_frame, inverse_rx_q);

    // NOTE: I recon the RX and TX are not algined properly
    // this was correct, switching to 6 axis magdwick with manual calibration
    // printk("tx_q0: %4.2f | tx_q1: %4.2f | tx_q2: %4.2f | tx_q3: %4.2f |
    // rx_q0: "
    //        "%4.2f | rx_q1: %4.2f | rx_q2: %4.2f | rx_q3: %4.2f\n",
    //        q_tx_frame.w, q_tx_frame.x, q_tx_frame.y, q_tx_frame.z,
    //        q_rx_frame.w, q_rx_frame.x, q_rx_frame.y, q_rx_frame.z);

    // normalise
    normalise_quaternion(&q_tx_frame);

    if (calibrate_orientation == 1) {
      rx_offset_q = inverse_rx_q;
      normalise_quaternion(&rx_offset_q);
      printk("CAL: raw q=(%.4f, %.4f, %.4f, %.4f)\n", q_rx_frame.w,
             q_rx_frame.x, q_rx_frame.y, q_rx_frame.z);
      printk("CAL: offset q=(%.4f, %.4f, %.4f, %.4f)\n", rx_offset_q.w,
             rx_offset_q.x, rx_offset_q.y, rx_offset_q.z);

      struct quaternion_t check = multiply_quaternion(rx_offset_q, q_rx_frame);
      printk("CAL: check (offset*raw) = (%.4f, %.4f, %.4f, %.4f) [should be "
             "near 1,0,0,0]\n",
             check.w, check.x, check.y, check.z);

      calibrate_orientation = 0;
    }

    // printk("correction q | q0: %6.4f | q1: %6.4f | q2: %6.4f | q3: %6.4f\n",
    //        rx_offset_q.w, rx_offset_q.x, rx_offset_q.y, rx_offset_q.z);
    // apply the offset

    // orginally
    // q_rx_frame = multiply_quaternion(rx_offset_q, q_rx_frame); // changed
    // q_rx_frame = multiply_quaternion(q_rx_frame, q_rx_frame); // changed
    q_rx_frame = multiply_quaternion(rx_offset_q, q_rx_frame);
    // q_rx_frame = multiply_quaternion(q_rx_frame,rx_offset_q);
    normalise_quaternion(&q_rx_frame);

    // printk("After offset: q_rx_frame = %.4f, %.4f, %.4f, %.4f\n",
    // q_rx_frame.w,
    //        q_rx_frame.x, q_rx_frame.y, q_rx_frame.z);

    inverse_rx_q = inverse_quaternion(&q_rx_frame);

    // rotated vector
    struct vector_t rot_vector;

    // struct vector_t rot_vector = {incoming_data.bx, incoming_data.by,
    //                               incoming_data.bz};
    //
    // rot_vector = rotate_vector(rx_pos_raw, q_tx_frame, inverse_rx_q);
    // update to only use internal reference
    rot_vector = rotate_vector(rx_pos_raw, q_rx_frame, inverse_rx_q);
    // printk("bx: %5.3f | by: %5.3f | bz: %5.3f | rot_bx: %5.3f | rot_by:
    // %5.3f"
    //        "| rot_bz: %5.3f\n",
    //        rx_pos_raw.x, rx_pos_raw.y, rx_pos_raw.z, rot_vector.x,
    //        rot_vector.y, rot_vector.z);

    // rot_vector = rx_pos_raw;

    // printk(" ROT X: %-7.3f | ROT Y: %-7.3f | ROT Z: %-7.3f\n", rot_vector.x,
    //        rot_vector.y, rot_vector.z);

    // estimate position from rotated vector
    struct vector_t smooth;

    smooth =
        calculate_pos(rot_vector.x, rot_vector.y, rot_vector.z, a_x, a_y, a_z);

    printk("X: %5.4f | Y: %5.4f | Z: %5.4f | q0: %5.4f | q1: %5.4f | "
           "q2: %5.4f | q3: %5.4f  \n",
           smooth.x, smooth.y, smooth.z, incoming_data.rx_q0,
           incoming_data.rx_q1, incoming_data.rx_q2, incoming_data.rx_q3);
  }
}
```

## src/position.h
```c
#ifndef POSITION_H
#define POSITION_H

struct kalman_state_t {
    float p_est;       // estimated position
    float v_est;       // estimated velocity
    float C0, C1, C2, C3;  // covariance matrix
};

struct vector_t calculate_pos(float bx, float by, float bz, float a_x, float a_y,
                   float a_z);

void start_positioning_thread(void *, void *, void *);

void rotate_vector_by_quaternion(float q0, float q1, float q2, float q3,
                                 float *bx, float *by, float *bz);

void align_to_tx_frame(float *bx, float *by, float *bz);

#endif
```

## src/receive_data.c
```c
#include "data_handle.h"
#include "timer.h"
#include "zephyr/kernel.h"
#include "zephyr/sys/printk.h"
#include <esb.h>
#include <hal/nrf_timer.h>
#include <helpers/nrfx_gppi.h>
#include <math.h>
#include <nrfx_timer.h>
#include <stdint.h>
#include <string.h>
#include <zephyr/bluetooth/bluetooth.h>
#include <zephyr/bluetooth/hci.h>

#include "receive_data.h"

struct rx_ts_entry {
  uint32_t seq;
  uint32_t timestamp;
  bool valid;
};

extern struct k_msgq rx_sync_msgq;
extern struct k_sem radio_sync_sem;

static bool have_prev_packet = false;
static uint32_t prev_packet_seq = 0;
static uint32_t prev_packet_timestamp = 0;
static struct data_container_t prev_packet_data;


void esb_rx_event_handler(struct esb_evt const *event) {
  if (event->evt_id != ESB_EVENT_RX_RECEIVED) {
    return;
  }

  struct esb_payload rx_payload;

  while (esb_read_rx_payload(&rx_payload) == 0) {
    uint32_t current_timestamp =
        nrfx_timer_capture_get(&rx_timer, NRF_TIMER_CC_CHANNEL1);

    union esb_packet incoming_data;
    memset(&incoming_data, 0, sizeof(incoming_data));

    size_t copy_len = MIN(rx_payload.length, sizeof(incoming_data.bytes));
    memcpy(incoming_data.bytes, rx_payload.data, copy_len);

    uint32_t packet_seq = incoming_data.data.packet_seq;

    // check they are consecutive
    bool consecutive =
        have_prev_packet && ((uint32_t)(prev_packet_seq + 1) == packet_seq);

    if (!consecutive) {
      have_prev_packet = true;
      prev_packet_seq = packet_seq;
      prev_packet_timestamp = current_timestamp;
      continue;
    }

    // packet this packet contains the phase for the previous packet e.g. (N-1)
    // place with prev timestamp
    struct rx_sync_ref_t sync = {
        .seq = prev_packet_seq,
        .timestamp = prev_packet_timestamp,
        .tx_phase = incoming_data.data.tx_phase,
        .q0 = incoming_data.data.q0,
        .q1 = incoming_data.data.q1,
        .q2 = incoming_data.data.q2,
        .q3 = incoming_data.data.q3,
    };
    // ISSUE: save the current quaterion incase race condition and not comparing quaterions correctly

    // seems like this always removes the packets?
    // if its using old ones would probbaly be better to have a timer condition on ADC to chhose wether to use them or not
    if (k_msgq_put(&rx_sync_msgq, &sync, K_NO_WAIT) != 0) {
      struct rx_sync_ref_t dummy;
      // removes old packets from queue
      while (k_msgq_get(&rx_sync_msgq, &dummy, K_NO_WAIT) == 0) {
      }
      // puts new packets into queue
      k_msgq_put(&rx_sync_msgq, &sync, K_NO_WAIT);
    }

    prev_packet_seq = packet_seq;
    prev_packet_timestamp = current_timestamp;
    have_prev_packet = true;
  }
}

int setup_rx_gppi(void) {
  nrfx_gppi_handle_t gppi_timestamp;
  // not firing??

  int err = nrfx_gppi_conn_alloc(
      nrf_radio_event_address_get(NRF_RADIO, NRF_RADIO_EVENT_CRCOK),
      nrf_timer_task_address_get(rx_timer.p_reg, NRF_TIMER_TASK_CAPTURE1),
      &gppi_timestamp);

  if (err != 0) {
    printk("RX radio timestamp GPPI failed: %d\n", err);
    return err;
  }

  nrfx_gppi_conn_enable(gppi_timestamp);
  return 0;
}

int setup_receiver(void) {
  int err;
  struct esb_config config = ESB_DEFAULT_CONFIG;

  config.protocol = ESB_PROTOCOL_ESB_DPL;
  // setup for 2MBPS and receiver mode
  config.bitrate = ESB_BITRATE_2MBPS;
  config.mode = ESB_MODE_PRX;
  config.event_handler = esb_rx_event_handler;

  err = esb_init(&config);
  if (err != 0) {
    printk("Tracker failed to init ESB: %d\n", err);
    return err;
  }

  esb_set_base_address_0(base_addr_0);
  esb_set_prefixes(addr_prefix, ARRAY_SIZE(addr_prefix));

  printk("Setting up receiver gppio\n");
  k_msleep(1000);
  err = setup_rx_gppi();
  if (err != 0) {
    return err;
  }

  // start listening
  esb_start_rx();

  printk("Tracker ESB Listening...\n");
  return 0;
}
```

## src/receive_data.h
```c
#ifndef DATA_HANDLE_H
#define DATA_HANDLE_H

#include "data_handle.h"
#include <zephyr/bluetooth/bluetooth.h>
#include <zephyr/bluetooth/hci.h>

int setup_receiver();

void esb_rx_event_handler(struct esb_evt const *event);

int setup_rx_gppi();

#endif
```

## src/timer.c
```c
// timer file to manage timer for broadcasting data and working out phase sync
//
#include <esb.h>
#include <hal/nrf_timer.h>
#include <nrfx_timer.h>
#include <stdint.h>
#include <zephyr/bluetooth/bluetooth.h>
#include <zephyr/bluetooth/hci.h>

// used for ADC timing
static nrfx_timer_t adc_timer = NRFX_TIMER_INSTANCE(NRF_TIMER_INST_GET(3));
// used to time position broadcast to other nodes, and workout phase sync
static nrfx_timer_t rx_timer = NRFX_TIMER_INSTANCE(NRF_TIMER_INST_GET(4));

int setup_timers() {
  int err;
  // setup adc timer
  IRQ_CONNECT(NRFX_IRQ_NUMBER_GET(NRF_TIMER3), IRQ_PRIO_LOWEST,
              nrfx_timer_irq_handler, &adc_timer, 0);

  uint32_t frequency = NRF_TIMER_BASE_FREQUENCY_GET(adc_timer.p_reg);
  // nrfx_timer_config_t config = NRFX_TIMER_DEFAULT_CONFIG(frequency);
  nrfx_timer_config_t config =
      NRFX_TIMER_DEFAULT_CONFIG(NRF_TIMER_BASE_FREQUENCY_16MHZ);

  err = nrfx_timer_init(&adc_timer, &config, NULL);

  if (err != 0) {
    printk("ADC timer init failed: %d\n", err);
    return err;
  }

  uint32_t adc_target_hz = CONFIG_RX_ADC_FREQUENCY * 1000;
  uint32_t adc_desired_ticks = frequency / adc_target_hz;

  // ADC Timer is allowed to use CLEAR_MASK because it is a metronome
  nrfx_timer_extended_compare(&adc_timer, NRF_TIMER_CC_CHANNEL0,
                              adc_desired_ticks,
                              NRF_TIMER_SHORT_COMPARE0_CLEAR_MASK, false);

  nrfx_timer_clear(&adc_timer);
  nrfx_timer_enable(&adc_timer);

  // set up receiver timer
  // for ADC and radio
  IRQ_CONNECT(NRFX_IRQ_NUMBER_GET(NRF_TIMER4), IRQ_PRIO_LOWEST,
              nrfx_timer_irq_handler, &rx_timer, 0);

  config.bit_width = NRF_TIMER_BIT_WIDTH_32;
  err = nrfx_timer_init(&rx_timer, &config, NULL);
  if (err != 0) {
    printk("RX timer init failed: %d\n", err);
    return err;
  }

  // Reset Timer 4 every 10ms (160,000 ticks) to keep math numbers small
  // uint32_t rx_loop_ticks = 160000;
  // nrfx_timer_extended_compare(&rx_timer, NRF_TIMER_CC_CHANNEL0,
  // rx_loop_ticks, NRF_TIMER_SHORT_COMPARE0_CLEAR_MASK, false);

  nrfx_timer_clear(&rx_timer);
  nrfx_timer_enable(&rx_timer);

  return 0;
}
```
